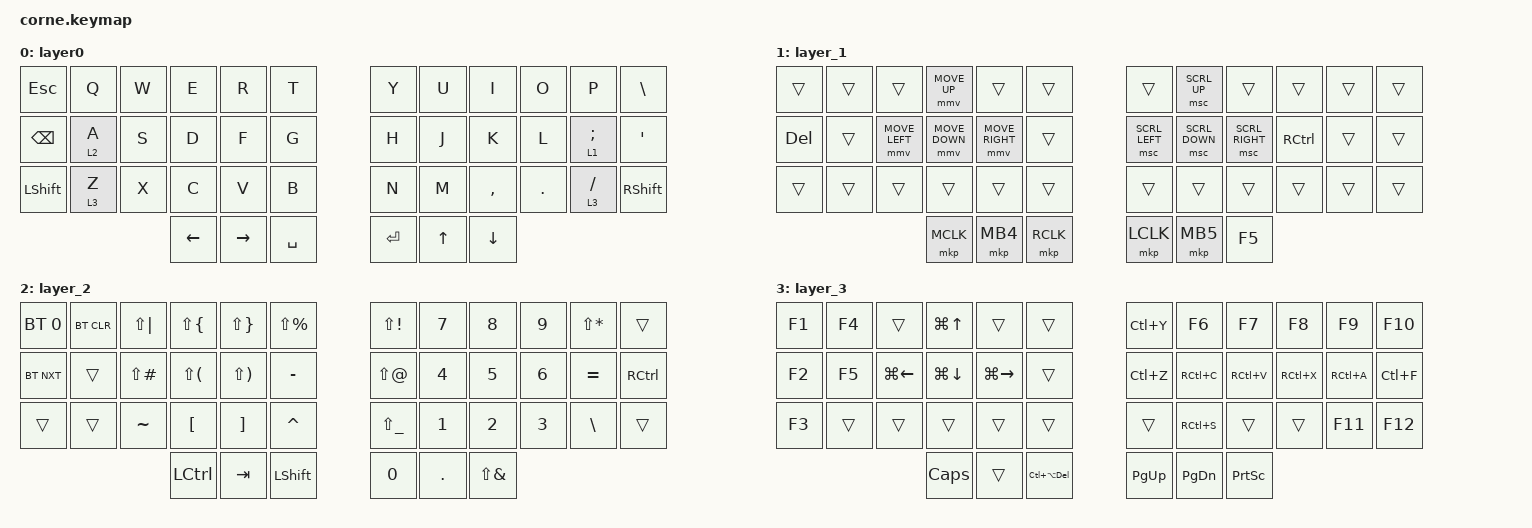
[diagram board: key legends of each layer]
/*
  * Copyright (c) 2020 The ZMK Contributors
  *
  * SPDX-License-Identifier: MIT
  */
#define ZMK_POINTING_DEFAULT_MOVE_VAL 1200  // default: 600
#define ZMK_POINTING_DEFAULT_SCRL_VAL 12    // default: 10
#include <behaviors.dtsi>
#include <dt-bindings/zmk/bt.h>
#include <dt-bindings/zmk/keys.h>
#include <dt-bindings/zmk/pointing.h>

/ {
    keymap {
        compatible = "zmk,keymap";

        layer0 {
            bindings = <
&kp ESC    &kp Q    &kp W  &kp E     &kp R      &kp T        &kp Y    &kp U   &kp I      &kp O    &kp P            &kp BSLH
&kp BSPC   &lt 2 A  &kp S  &kp D     &kp F      &kp G        &kp H    &kp J   &kp K      &kp L    &lt 1 SEMICOLON  &kp SQT
&kp LSHFT  &lt 3 Z  &kp X  &kp C     &kp V      &kp B        &kp N    &kp M   &kp COMMA  &kp DOT  &lt 3 SLASH      &kp RSHFT
                           &kp LEFT  &kp RIGHT  &kp SPACE    &kp RET  &kp UP  &kp DOWN
            >;
        };

        layer_1 {
            bindings = <
&trans  &trans  &trans          &mmv MOVE_UP    &trans           &trans       &trans          &msc SCRL_UP    &trans           &trans  &trans  &trans
&kp DEL &trans  &mmv MOVE_LEFT  &mmv MOVE_DOWN  &mmv MOVE_RIGHT  &trans       &msc SCRL_LEFT  &msc SCRL_DOWN  &msc SCRL_RIGHT  &kp RCTRL &trans  &trans
&trans  &trans  &trans          &trans          &trans           &trans       &trans          &trans          &trans           &trans  &trans  &trans
                                &mkp MCLK       &mkp MB4         &mkp RCLK    &mkp LCLK       &mkp MB5        &kp F5
            >;
        };

        layer_2 {
            bindings = <
&bt BT_SEL 0  &bt BT_CLR  &kp LS(PIPE)   &kp LS(LBRC)  &kp LS(RBRC)  &kp LS(PRCNT)    &kp LS(EXCL)   &kp N7   &kp N8        &kp N9  &kp LS(STAR)  &trans
&bt BT_NXT    &trans      &kp LS(POUND)  &kp LS(LPAR)  &kp LS(RPAR)  &kp MINUS        &kp LS(AT)     &kp N4   &kp N5        &kp N6  &kp EQUAL     &kp RIGHT_CONTROL
&trans        &trans      &kp TILDE      &kp LBKT      &kp RBKT      &kp CARET        &kp LS(UNDER)  &kp N1   &kp N2        &kp N3  &kp BSLH      &trans
                                         &kp LCTRL     &kp TAB       &kp LSHFT        &kp N0         &kp DOT  &kp LS(AMPS)
            >;
        };

        layer_3 {
            bindings = <
&kp F1  &kp F4  &trans              &kp LG(UP_ARROW)  &trans         &trans             &kp LC(Y)    &kp F6         &kp F7           &kp F8     &kp F9     &kp F10
&kp F2  &kp F5  &kp LG(LEFT_ARROW)  &kp LG(DOWN)      &kp LG(RIGHT)  &trans             &kp LC(Z)    &kp RC(C)      &kp RC(V)        &kp RC(X)  &kp RC(A)  &kp LC(F)
&kp F3  &trans  &trans              &trans            &trans         &trans             &trans       &kp RC(S)      &trans           &trans     &kp F11    &kp F12
                                    &kp CAPS          &trans         &kp LC(LA(DEL))    &kp PAGE_UP  &kp PAGE_DOWN  &kp PRINTSCREEN
            >;
        };
    };
};
